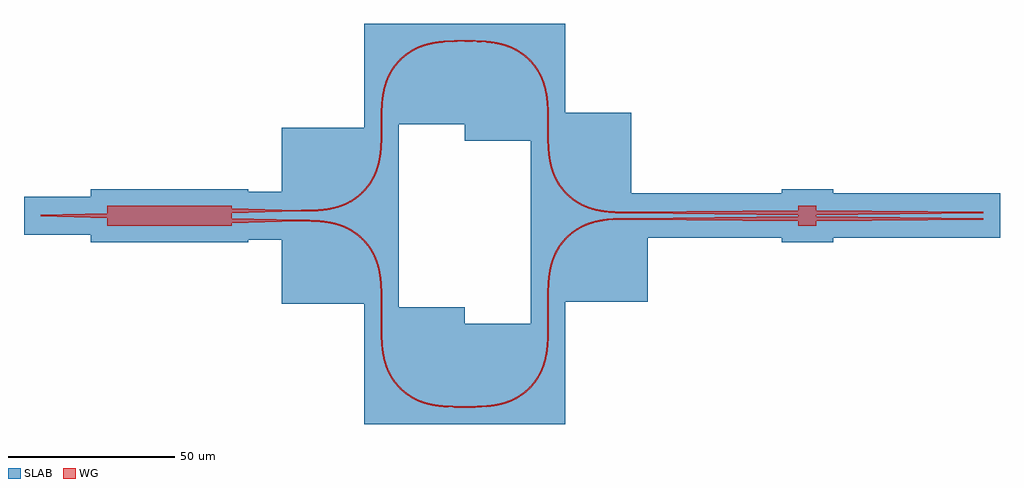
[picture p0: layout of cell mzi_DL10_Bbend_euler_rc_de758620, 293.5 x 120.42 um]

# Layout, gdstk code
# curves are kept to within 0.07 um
from math import pi, radians
import gdstk
lib = gdstk.Library(unit=1e-6, precision=1e-09)
def R(c, l, rs):  # rectangles x0, y0, x1, y1
    for r in rs: c.add(gdstk.rectangle(r[:2], r[2:], *l))
def P(c, l, *ps):  # polygons
    for p in ps: c.add(gdstk.Polygon(p, *l))
WG = (3, 0)
SLAB = (5, 0)

mmi1x2_wnone_wt1p5_lt20_ = lib.new_cell('mmi1x2_WNone_WT1p5_LT20_511edbb1')
P(mmi1x2_wnone_wt1p5_lt20_, WG, [(0,-3),(0,-0.75),(-20,-0.225),(-20,0.225),(0,0.75),(0,3),(37.5,3),(37.5,2.235),(57.5,1.71),(57.5,1.26),(37.5,0.735),(37.5,-0.735),(57.5,-1.26),(57.5,-1.71),(37.5,-2.235),(37.5,-3)])
P(mmi1x2_wnone_wt1p5_lt20_, SLAB, [(-5,-8),(-5,-5.75),(-25,-5.75),(-25,5.75),(-5,5.75),(-5,8),(42.5,8),(42.5,7.235),(62.5,7.235),(62.5,-7.235),(42.5,-7.235),(42.5,-8)])

bend_euler_rnone_a90_p0_ = lib.new_cell('bend_euler_RNone_A90_P0_ddb8ac70')
P(bend_euler_rnone_a90_p0_, WG, [(0,-0.225),(0,0.225),(3.896,0.265),(6.97,0.457),(9.613,0.839),(11.939,1.418),(13.936,2.161),(15.842,3.147),(17.506,4.277),(19.124,5.686),(20.474,7.178),(21.784,9.044),(22.729,10.82),(23.502,12.807),(24.135,15.256),(24.543,18.03),(24.735,21.104),(24.775,25),(25.225,25),(25.18,20.955),(25.017,18.255),(24.653,15.568),(24.091,13.188),(23.251,10.882),(22.239,8.927),(21.08,7.22),(19.538,5.462),(17.78,3.92),(16.073,2.761),(14.118,1.749),(11.812,0.909),(9.432,0.347),(6.745,-0.017),(4.045,-0.18)])
R(bend_euler_rnone_a90_p0_, SLAB, [(-5,-5.225,30.225,25)])

straight_l1_csxs_rc = lib.new_cell('straight_L1_CSxs_rc')
R(straight_l1_csxs_rc, WG, [(0,-0.225,1,0.225)])
R(straight_l1_csxs_rc, SLAB, [(-5,-5.225,6,5.225)])

straight_l6_csxs_rc = lib.new_cell('straight_L6_CSxs_rc')
R(straight_l6_csxs_rc, WG, [(0,-0.225,6,0.225)])
R(straight_l6_csxs_rc, SLAB, [(-5,-5.225,11,5.225)])

straight_l0p1_csxs_rc = lib.new_cell('straight_L0p1_CSxs_rc')
R(straight_l0p1_csxs_rc, WG, [(0,-0.225,0.1,0.225)])
R(straight_l0p1_csxs_rc, SLAB, [(-5,-5.225,5.1,5.225)])

mmi2x2_wnone_wt1p5_lt50_ = lib.new_cell('mmi2x2_WNone_WT1p5_LT50_c00de7f6')
P(mmi2x2_wnone_wt1p5_lt50_, WG, [(0,-3),(0,-1.7),(-50.2,-1.175),(-50.2,-0.725),(0,-0.2),(0,0.2),(-50.2,0.725),(-50.2,1.175),(0,1.7),(0,3),(5.5,3),(5.5,1.7),(55.7,1.175),(55.7,0.725),(5.5,0.2),(5.5,-0.2),(55.7,-0.725),(55.7,-1.175),(5.5,-1.7),(5.5,-3)])
P(mmi2x2_wnone_wt1p5_lt50_, SLAB, [(-5,-8),(-5,-6.7),(-55.2,-6.7),(-55.2,6.7),(-5,6.7),(-5,8),(10.5,8),(10.5,6.7),(60.7,6.7),(60.7,-6.7),(10.5,-6.7),(10.5,-8)])

straight_l1p53500000000_ = lib.new_cell('straight_L1p53500000000_53bbe87f')
R(straight_l1p53500000000_, WG, [(0,-0.225,1.535,0.225)])
R(straight_l1p53500000000_, SLAB, [(-5,-5.225,6.535,5.225)])

straight_l6p535_csxs_rc = lib.new_cell('straight_L6p535_CSxs_rc')
R(straight_l6p535_csxs_rc, WG, [(0,-0.225,6.535,0.225)])
R(straight_l6p535_csxs_rc, SLAB, [(-5,-5.225,11.535,5.225)])

mzi_dl10_bbend_euler_rc_ = lib.new_cell('mzi_DL10_Bbend_euler_rc_de758620')
mzi_dl10_bbend_euler_rc_.add(gdstk.Reference(mmi1x2_wnone_wt1p5_lt20_, (0,0)))
mzi_dl10_bbend_euler_rc_.add(gdstk.Reference(bend_euler_rnone_a90_p0_, (57.5,-1.485), x_reflection=True))
mzi_dl10_bbend_euler_rc_.add(gdstk.Reference(bend_euler_rnone_a90_p0_, (82.5,-32.485), rotation=3*pi/2))
mzi_dl10_bbend_euler_rc_.add(gdstk.Reference(bend_euler_rnone_a90_p0_, (57.5,1.485)))
mzi_dl10_bbend_euler_rc_.add(gdstk.Reference(bend_euler_rnone_a90_p0_, (107.5,52.485), rotation=pi))
mzi_dl10_bbend_euler_rc_.add(gdstk.Reference(bend_euler_rnone_a90_p0_, (132.6,27.485), rotation=pi/2))
mzi_dl10_bbend_euler_rc_.add(gdstk.Reference(bend_euler_rnone_a90_p0_, (132.6,25.95), rotation=3*pi/2))
mzi_dl10_bbend_euler_rc_.add(gdstk.Reference(bend_euler_rnone_a90_p0_, (107.6,-57.485)))
mzi_dl10_bbend_euler_rc_.add(gdstk.Reference(bend_euler_rnone_a90_p0_, (157.6,-0.95), rotation=pi))
mzi_dl10_bbend_euler_rc_.add(gdstk.Reference(straight_l1_csxs_rc, (82.5,26.485), rotation=pi/2))
mzi_dl10_bbend_euler_rc_.add(gdstk.Reference(straight_l6_csxs_rc, (82.5,-26.485), rotation=3*pi/2))
mzi_dl10_bbend_euler_rc_.add(gdstk.Reference(straight_l0p1_csxs_rc, (107.5,52.485)))
mzi_dl10_bbend_euler_rc_.add(gdstk.Reference(straight_l0p1_csxs_rc, (107.5,-57.485)))
mzi_dl10_bbend_euler_rc_.add(gdstk.Reference(mmi2x2_wnone_wt1p5_lt50_, (213.3,0), rotation=pi, x_reflection=True))
mzi_dl10_bbend_euler_rc_.add(gdstk.Reference(straight_l1p53500000000_, (132.6,25.95), rotation=pi/2))
mzi_dl10_bbend_euler_rc_.add(gdstk.Reference(straight_l6p535_csxs_rc, (132.6,-32.485), rotation=pi/2))

lib.write_gds('mzi_DL10_Bbend_euler_rc_de758620.gds')
